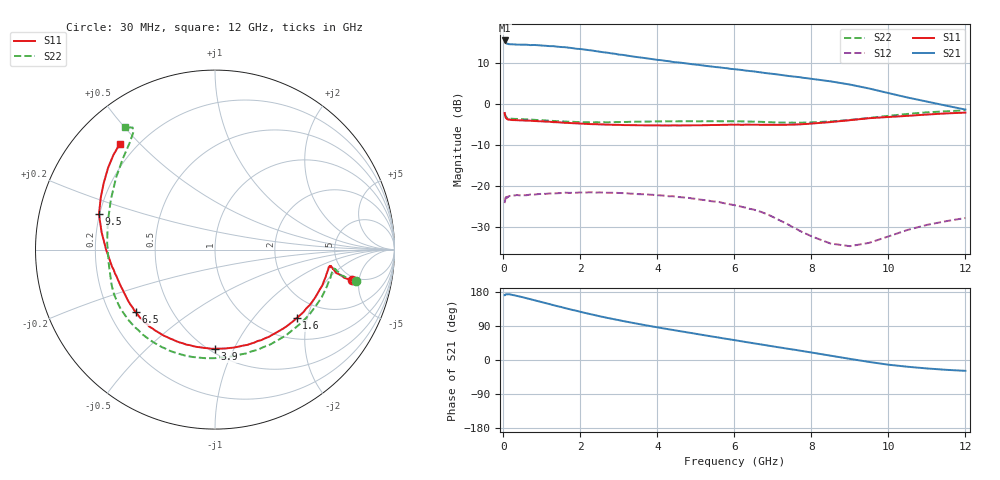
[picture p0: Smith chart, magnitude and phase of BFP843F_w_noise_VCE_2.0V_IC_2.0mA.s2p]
! Infineon Technologies  Discrete & RF Semiconductors
! BFP843F
! VCE =  2.0 V,  IC =  2.0 mA
! Common Emitter S-Parameters:  Aug 2013
# GHz  S  MA  R  50
!  f  S11  S21  S12  S22
! GHz  MAG  ANG  MAG  ANG  MAG  ANG  MAG  ANG
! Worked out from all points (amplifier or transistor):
!   103 points, 30 MHz to 12 GHz, reference 50 ohm
!   highest |S21| = 15.6 dB at 30 MHz (marker M1)
!   |S21| within 3 dB of that: start of sweep to 2.704 GHz
!   unconditionally stable (mu >= 1): 146.2 MHz to 693.3 MHz; 4.645 GHz to end of sweep
!   at 400 MHz: K = 1.01, MAG = 17.8 dB, |S12| = -22.3 dB
!   at 3.7 GHz: K = 0.93, MSG = 16.6 dB, |S12| = -22.0 dB
!   at 12 GHz: K = 1.73, MAG = 8.3 dB, |S12| = -27.8 dB
!   lowest NFmin = 1.09 dB at 450 MHz
!   S11 on the Smith chart (normalised r, x): 30 MHz: 4.53, -3.98; 1.6 GHz: 1.47, -1.73; 3.9 GHz: 0.53, -0.85; 6.5 GHz: 0.31, -0.32; 9.5 GHz: 0.20, +0.14; 12 GHz: 0.14, +0.44
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0.03  0.7806 -12.7  6.038 171.0  0.0619 36.2  0.803 -12.7
0.04  0.7366 -12.3  5.839 171.0  0.0653 28.9  0.7578 -12.4
0.05  0.7103 -11.3  5.673 172.9  0.07 23.9  0.7316 -11.6
0.07  0.6787 -10.2  5.546 173.2  0.0667 18.9  0.7039 -10.2
0.15  0.652 -8.3  5.436 173.4  0.0755 9.2  0.6715 -9.1
0.8  0.6247 -20.9  5.316 157.8  0.0787 -0.1  0.6457 -27.4
1.3  0.605 -32.7  5.141 144.7  0.0813 -2.7  0.6254 -43.8
1.6  0.594 -39.9  4.995 137.0  0.083 -4.7  0.6156 -53.7
2.1  0.5776 -51.5  4.679 124.7  0.0829 -8.6  0.6028 -70.1
2.5  0.5675 -60.5  4.4 115.4  0.0837 -12.5  0.6022 -81.9
2.9  0.5607 -69.2  4.147 107.0  0.0827 -16.0  0.6054 -92.3
3.4  0.5555 -79.7  3.819 97.2  0.0805 -20.4  0.6121 -103.7
3.9  0.5526 -90.1  3.55 88.0  0.0781 -25.0  0.6168 -113.1
4.1  0.5507 -94.4  3.464 84.4  0.0768 -26.6  0.6169 -116.8
5.1  0.5535 -115.0  3.021 67.4  0.0684 -35.1  0.6196 -133.9
6.1  0.5636 -134.0  2.657 50.8  0.0572 -44.2  0.6187 -150.4
6.5  0.5622 -141.6  2.528 44.1  0.0516 -48.8  0.6138 -156.9
7.7  0.5683 -164.7  2.145 24.7  0.0283 -49.1  0.5965 -177.5
8.5  0.6065 -179.9  1.908 11.4  0.0198 -26.9  0.6168 165.5
9.5  0.676 163.0  1.56 -5.1  0.0202 9.5  0.6816 144.0
10.5  0.7225 149.1  1.21 -17.8  0.0291 25.0  0.7625 128.5
12  0.7916 132.2  0.862 -28.6  0.0407 33.4  0.8451 126.3
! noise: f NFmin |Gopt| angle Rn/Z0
0.45  1.09  0.34  11  0.15
0.9  1.1  0.34  19  0.16
1.5  1.21  0.33  27  0.17
1.9  1.28  0.31  40  0.17
2.4  1.33  0.31  50  0.18
3.5  1.43  0.32  76  0.23
5.5  1.57  0.28  126  0.33
10  2.71  0.48  -138  0.45
